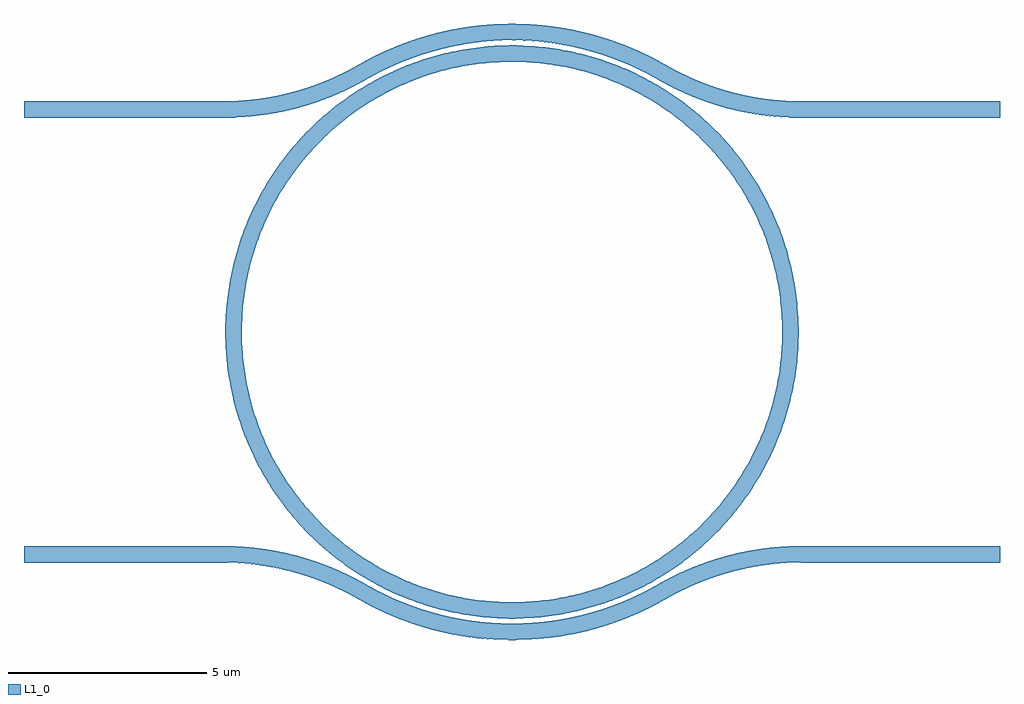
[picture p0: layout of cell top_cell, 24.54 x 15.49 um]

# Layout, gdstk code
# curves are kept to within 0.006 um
import gdstk
lib = gdstk.Library(unit=1e-6, precision=1e-09)
def R(c, l, rs):  # rectangles x0, y0, x1, y1
    for r in rs: c.add(gdstk.rectangle(r[:2], r[2:], *l))
def P(c, l, *ps):  # polygons
    for p in ps: c.add(gdstk.Polygon(p, *l))
L1_0 = (1, 0)

ring = lib.new_cell('ring')
P(ring, L1_0, [(-6.992,-7.205),(-7.265,-7.2),(-7.629,-7.178),(-7.991,-7.137),(-8.26,-7.094),(-8.528,-7.041),(-8.882,-6.955),(-9.396,-6.795),(-6.821,-6.793),(-6.478,-6.775),(-6.136,-6.74),(-5.628,-6.655),(-5.377,-6.598),(-5.046,-6.508),(-4.719,-6.401),(-4.479,-6.31),(-4.008,-6.101),(-3.703,-5.942),(-3.407,-5.768),(-3.121,-5.579),(-2.912,-5.428),(-2.709,-5.269),(-2.448,-5.045),(-2.199,-4.809),(-1.962,-4.56),(-1.739,-4.3),(-1.528,-4.029),(-1.331,-3.747),(-1.194,-3.53),(-1.064,-3.307),(-0.904,-3.003),(-0.76,-2.691),(-0.663,-2.452),(-0.495,-1.965),(-0.384,-1.551),(-0.286,-1.045),(-0.226,-0.534),(-0.205,-0.019),(-0.219,0.43),(-0.259,0.857),(-0.311,1.197),(-0.361,1.45),(-0.49,1.949),(-0.626,2.355),(-0.823,2.832),(-1.055,3.291),(-1.184,3.514),(-1.369,3.804),(-1.621,4.152),(-1.95,4.547),(-2.248,4.857),(-2.499,5.091),(-2.83,5.365),(-3.106,5.569),(-3.539,5.848),(-3.915,6.054),(-4.303,6.237),(-4.703,6.395),(-5.029,6.503),(-5.443,6.614),(-5.864,6.699),(-6.289,6.758),(-6.631,6.785),(-7.061,6.795),(-7.575,6.771),(-8.001,6.721),(-8.34,6.662),(-8.758,6.564),(-9.169,6.44),(-9.571,6.29),(-9.963,6.115),(-10.343,5.916),(-10.71,5.693),(-10.993,5.498),(-11.332,5.235),(-11.654,4.951),(-11.898,4.71),(-12.186,4.391),(-12.453,4.055),(-12.698,3.702),(-12.92,3.335),(-13.119,2.955),(-13.293,2.563),(-13.415,2.242),(-13.566,1.749),(-13.646,1.415),(-13.722,0.993),(-13.764,0.652),(-13.794,0.138),(-13.789,-0.291),(-13.757,-0.72),(-13.698,-1.145),(-13.612,-1.565),(-13.525,-1.898),(-13.392,-2.305),(-13.233,-2.705),(-13.05,-3.093),(-12.843,-3.469),(-12.612,-3.831),(-12.412,-4.109),(-12.141,-4.443),(-11.851,-4.758),(-11.541,-5.055),(-11.212,-5.332),(-10.938,-5.538),(-10.653,-5.73),(-10.208,-5.99),(-9.823,-6.181),(-9.428,-6.346),(-9.022,-6.487),(-8.609,-6.602),(-8.273,-6.675),(-7.849,-6.742),(-7.422,-6.782),(-6.992,-6.795),(-9.396,-6.795),(-9.827,-6.627),(-10.159,-6.476),(-10.482,-6.308),(-10.796,-6.124),(-11.026,-5.976),(-11.395,-5.709),(-11.678,-5.48),(-11.949,-5.237),(-12.207,-4.98),(-12.452,-4.711),(-12.683,-4.429),(-12.951,-4.062),(-13.149,-3.756),(-13.287,-3.52),(-13.456,-3.198),(-13.61,-2.868),(-13.746,-2.53),(-13.865,-2.186),(-13.967,-1.836),(-14.051,-1.482),(-14.117,-1.124),(-14.174,-0.672),(-14.194,-0.4),(-14.205,-0.036),(-14.198,0.328),(-14.172,0.691),(-14.128,1.053),(-14.083,1.322),(-14.007,1.678),(-13.913,2.03),(-13.802,2.377),(-13.673,2.717),(-13.527,3.051),(-13.365,3.377),(-13.186,3.694),(-12.991,4.002),(-12.781,4.3),(-12.557,4.586),(-12.318,4.861),(-12.066,5.124),(-11.8,5.373),(-11.523,5.609),(-11.233,5.83),(-10.934,6.037),(-10.623,6.228),(-10.304,6.403),(-9.977,6.561),(-9.726,6.669),(-9.385,6.799),(-9.126,6.884),(-8.775,6.983),(-8.42,7.064),(-8.062,7.126),(-7.7,7.171),(-7.337,7.197),(-7.064,7.205),(-6.7,7.199),(-6.337,7.174),(-5.975,7.132),(-5.616,7.071),(-5.261,6.992),(-4.91,6.895),(-4.564,6.781),(-4.224,6.649),(-3.892,6.5),(-3.648,6.378),(-3.33,6.2),(-3.022,6.007),(-2.797,5.852),(-2.506,5.632),(-2.228,5.398),(-1.961,5.15),(-1.707,4.889),(-1.467,4.615),(-1.241,4.329),(-1.029,4.033),(-0.833,3.726),(-0.653,3.41),(-0.489,3.085),(-0.341,2.752),(-0.211,2.412),(-0.097,2.066),(-0.024,1.803),(0.058,1.448),(0.122,1.09),(0.168,0.728),(0.191,0.456),(0.205,0.071),(0.199,-0.293),(0.183,-0.566),(0.145,-0.928),(0.089,-1.288),(0.015,-1.644),(-0.077,-1.997),(-0.187,-2.344),(-0.314,-2.685),(-0.458,-3.02),(-0.662,-3.427),(-0.843,-3.742),(-1.04,-4.049),(-1.252,-4.345),(-1.479,-4.63),(-1.72,-4.903),(-1.91,-5.099),(-2.174,-5.35),(-2.45,-5.587),(-2.738,-5.809),(-3.037,-6.018),(-3.346,-6.21),(-3.665,-6.387),(-3.992,-6.547),(-4.326,-6.691),(-4.582,-6.787),(-4.928,-6.901),(-5.191,-6.974),(-5.545,-7.057),(-5.814,-7.107),(-6.175,-7.158),(-6.537,-7.19)])

c_c1 = lib.new_cell('c1')
P(c_c1, L1_0, [(-7,-7.745),(-7,-7.335),(-6.539,-7.321),(-6.126,-7.283),(-5.633,-7.207),(-5.168,-7.103),(-4.689,-6.962),(-4.2,-6.78),(-3.766,-6.584),(-3.332,-6.352),(-3.128,-6.707),(-3.585,-6.952),(-4.051,-7.162),(-4.545,-7.346),(-5.042,-7.494),(-5.461,-7.591),(-5.965,-7.676),(-6.465,-7.727)])

c_c2 = lib.new_cell('c2')
P(c_c2, L1_0, [(-7,-7.745),(-7.535,-7.727),(-8.035,-7.676),(-8.539,-7.591),(-9.044,-7.471),(-9.532,-7.32),(-10.009,-7.137),(-10.451,-6.934),(-10.872,-6.707),(-10.668,-6.352),(-10.22,-6.591),(-9.793,-6.783),(-9.376,-6.94),(-8.869,-7.093),(-8.367,-7.207),(-7.851,-7.286),(-7.461,-7.321),(-7,-7.335)])

c_c3 = lib.new_cell('c3')
P(c_c3, L1_0, [(-3.128,-6.707),(-3.332,-6.352),(-2.846,-6.095),(-2.34,-5.876),(-2.064,-5.775),(-1.668,-5.652),(-1.376,-5.577),(-1.058,-5.51),(-0.783,-5.464),(-0.423,-5.42),(-0.077,-5.395),(0.27,-5.387),(0.27,-5.797),(-0.157,-5.81),(-0.596,-5.852),(-1.024,-5.921),(-1.496,-6.03),(-1.931,-6.163),(-2.35,-6.322),(-2.739,-6.499)])

c_c4 = lib.new_cell('c4')
P(c_c4, L1_0, [(-10.872,-6.707),(-11.261,-6.499),(-11.676,-6.311),(-12.089,-6.156),(-12.546,-6.019),(-12.955,-5.925),(-13.411,-5.851),(-13.843,-5.81),(-14.27,-5.797),(-14.27,-5.387),(-13.901,-5.396),(-13.577,-5.42),(-13.21,-5.465),(-12.942,-5.51),(-12.676,-5.565),(-12.325,-5.654),(-12.029,-5.744),(-11.688,-5.865),(-11.127,-6.108),(-10.668,-6.352)])

wg5 = lib.new_cell('wg5')
R(wg5, L1_0, [(0.27,-5.797,5.27,-5.387)])

wg6 = lib.new_cell('wg6')
R(wg6, L1_0, [(-19.27,-5.797,-14.27,-5.387)])

c_c5 = lib.new_cell('c5')
P(c_c5, L1_0, [(-3.332,6.352),(-3.78,6.591),(-4.207,6.783),(-4.624,6.94),(-5.131,7.093),(-5.633,7.207),(-6.149,7.286),(-6.539,7.321),(-7,7.335),(-7,7.745),(-6.708,7.74),(-6.36,7.719),(-5.965,7.676),(-5.628,7.623),(-5.223,7.539),(-4.909,7.458),(-4.545,7.346),(-4.232,7.234),(-3.946,7.118),(-3.651,6.984),(-3.347,6.83),(-3.128,6.707)])

c_c6 = lib.new_cell('c6')
P(c_c6, L1_0, [(-10.668,6.352),(-10.872,6.707),(-10.653,6.83),(-10.334,6.991),(-10.054,7.118),(-9.776,7.231),(-9.44,7.351),(-9.083,7.46),(-8.777,7.539),(-8.372,7.623),(-8.035,7.676),(-7.697,7.714),(-7.341,7.738),(-7,7.745),(-7,7.335),(-7.461,7.321),(-7.874,7.283),(-8.367,7.207),(-8.832,7.103),(-9.311,6.962),(-9.8,6.78),(-10.234,6.584)])

c_c7 = lib.new_cell('c7')
P(c_c7, L1_0, [(-14.27,5.387),(-14.27,5.797),(-13.843,5.81),(-13.404,5.852),(-12.976,5.921),(-12.504,6.03),(-12.069,6.163),(-11.65,6.322),(-11.261,6.499),(-10.872,6.707),(-10.668,6.352),(-11.066,6.138),(-11.513,5.935),(-11.936,5.775),(-12.383,5.638),(-12.89,5.52),(-13.419,5.437),(-13.847,5.399)])

c_c8 = lib.new_cell('c8')
P(c_c8, L1_0, [(0.27,5.387),(-0.152,5.399),(-0.581,5.437),(-1.095,5.517),(-1.595,5.632),(-2.064,5.775),(-2.487,5.935),(-2.873,6.108),(-3.332,6.352),(-3.128,6.707),(-2.739,6.499),(-2.324,6.311),(-1.911,6.156),(-1.454,6.019),(-1.045,5.925),(-0.589,5.851),(-0.157,5.81),(0.27,5.797)])

wg9 = lib.new_cell('wg9')
R(wg9, L1_0, [(0.27,5.387,5.27,5.797)])

wg10 = lib.new_cell('wg10')
R(wg10, L1_0, [(-19.27,5.387,-14.27,5.797)])

top_cell = lib.new_cell('top_cell')
top_cell.add(gdstk.Reference(ring, (0,0)))
top_cell.add(gdstk.Reference(c_c1, (0,0)))
top_cell.add(gdstk.Reference(c_c2, (0,0)))
top_cell.add(gdstk.Reference(c_c3, (0,0)))
top_cell.add(gdstk.Reference(c_c4, (0,0)))
top_cell.add(gdstk.Reference(wg5, (0,0)))
top_cell.add(gdstk.Reference(wg6, (0,0)))
top_cell.add(gdstk.Reference(c_c5, (0,0)))
top_cell.add(gdstk.Reference(c_c6, (0,0)))
top_cell.add(gdstk.Reference(c_c7, (0,0)))
top_cell.add(gdstk.Reference(c_c8, (0,0)))
top_cell.add(gdstk.Reference(wg9, (0,0)))
top_cell.add(gdstk.Reference(wg10, (0,0)))

lib.write_gds('top_cell.gds')
